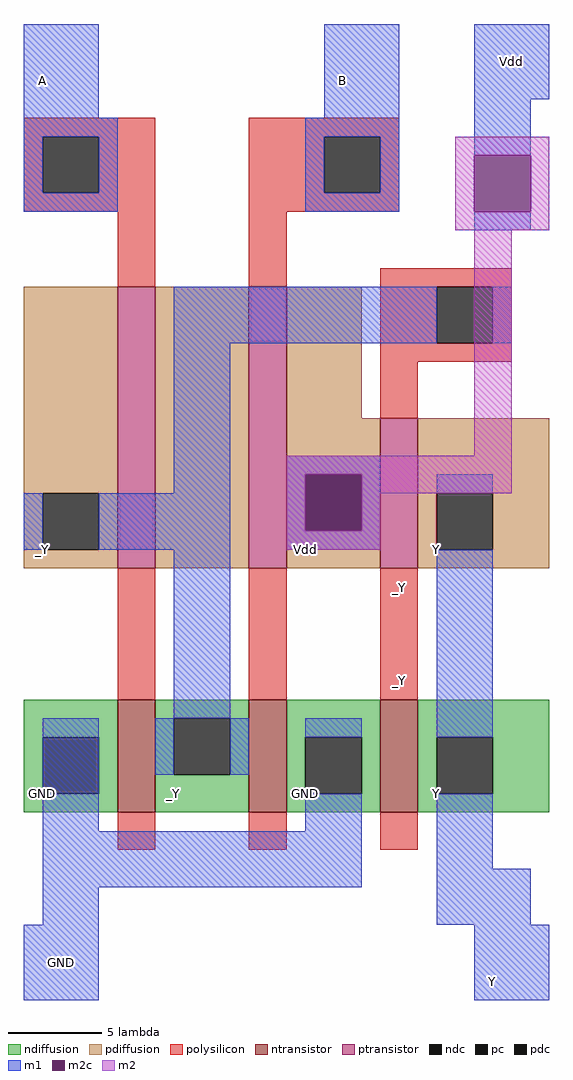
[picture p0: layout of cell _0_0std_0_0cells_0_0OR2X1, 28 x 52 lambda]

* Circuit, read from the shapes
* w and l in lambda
.subckt _0_0std_0_0cells_0_0OR2X1 Y B A
M1 _Y A GND VSUBS nfet w=6 l=2
M2 GND B _Y VSUBS nfet w=6 l=2
M3 Y _Y GND VSUBS nfet w=6 l=2
M4 n1 A _Y NWELL pfet w=15 l=2
M5 Vdd B n1 NWELL pfet w=15 l=2
M6 Y _Y Vdd NWELL pfet w=8 l=2
.ends

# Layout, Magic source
magic
tech sky130l
<< ndiffusion >>
rect 8 10 13 12
rect 8 7 9 10
rect 12 7 13 10
rect 8 6 13 7
rect 15 11 20 12
rect 15 8 16 11
rect 19 8 20 11
rect 15 6 20 8
rect 22 10 27 12
rect 22 7 23 10
rect 26 7 27 10
rect 22 6 27 7
rect 29 10 36 12
rect 29 7 30 10
rect 33 7 36 10
rect 29 6 36 7
<< ndc >>
rect 9 7 12 10
rect 16 8 19 11
rect 23 7 26 10
rect 30 7 33 10
<< ntransistor >>
rect 13 6 15 12
rect 20 6 22 12
rect 27 6 29 12
<< pdiffusion >>
rect 8 23 13 34
rect 8 20 9 23
rect 12 20 13 23
rect 8 19 13 20
rect 15 19 20 34
rect 22 27 26 34
rect 22 24 27 27
rect 22 21 23 24
rect 26 21 27 24
rect 22 19 27 21
rect 29 23 36 27
rect 29 20 30 23
rect 33 20 36 23
rect 29 19 36 20
<< pdc >>
rect 9 20 12 23
rect 23 21 26 24
rect 30 20 33 23
<< ptransistor >>
rect 13 19 15 34
rect 20 19 22 34
rect 27 19 29 27
<< polysilicon >>
rect 8 42 15 43
rect 8 39 9 42
rect 12 39 15 42
rect 8 38 15 39
rect 13 34 15 38
rect 20 42 28 43
rect 20 39 24 42
rect 27 39 28 42
rect 20 38 28 39
rect 20 34 22 38
rect 27 34 34 35
rect 27 31 30 34
rect 33 31 34 34
rect 27 30 34 31
rect 27 27 29 30
rect 13 12 15 19
rect 20 12 22 19
rect 27 12 29 19
rect 13 4 15 6
rect 20 4 22 6
rect 27 4 29 6
<< pc >>
rect 9 39 12 42
rect 24 39 27 42
rect 30 31 33 34
<< m1 >>
rect 8 43 12 48
rect 24 43 28 48
rect 8 42 13 43
rect 8 39 9 42
rect 12 39 13 42
rect 8 38 13 39
rect 23 42 28 43
rect 23 39 24 42
rect 27 39 28 42
rect 23 38 28 39
rect 32 44 36 48
rect 32 41 35 44
rect 32 37 35 38
rect 16 31 30 34
rect 33 31 34 34
rect 16 23 19 31
rect 8 20 9 23
rect 12 20 19 23
rect 22 24 27 25
rect 22 21 23 24
rect 26 21 27 24
rect 22 20 27 21
rect 30 23 33 24
rect 16 11 19 20
rect 9 5 12 11
rect 15 8 16 11
rect 19 8 20 11
rect 23 10 26 11
rect 23 5 26 7
rect 9 2 26 5
rect 30 10 33 20
rect 30 3 33 7
rect 9 0 12 2
rect 30 0 35 3
rect 8 -4 12 0
rect 32 -4 36 0
<< m2c >>
rect 32 38 35 41
rect 23 21 26 24
<< m2 >>
rect 31 41 36 42
rect 31 38 32 41
rect 35 38 36 41
rect 31 37 36 38
rect 32 25 34 37
rect 22 24 34 25
rect 22 21 23 24
rect 26 23 34 24
rect 26 21 27 23
rect 22 20 27 21
<< labels >>
rlabel pdiffusion 30 20 30 20 3 Y
rlabel ndiffusion 30 7 30 7 3 Y
rlabel polysilicon 28 13 28 13 3 _Y
rlabel polysilicon 28 18 28 18 3 _Y
rlabel ndiffusion 23 7 23 7 3 GND
rlabel pdiffusion 23 20 23 20 3 Vdd
rlabel ndiffusion 16 7 16 7 3 _Y
rlabel ndiffusion 9 7 9 7 3 GND
rlabel m1 9 45 9 45 3 A
port 5 e
rlabel pdiffusion 9 20 9 20 3 _Y
rlabel m1 25 45 25 45 3 B
port 2 e
rlabel m1 33 -3 33 -3 3 Y
port 1 e
rlabel m1 8 -4 12 0 2 GND
rlabel m1 32 44 36 48 6 Vdd
<< end >>
